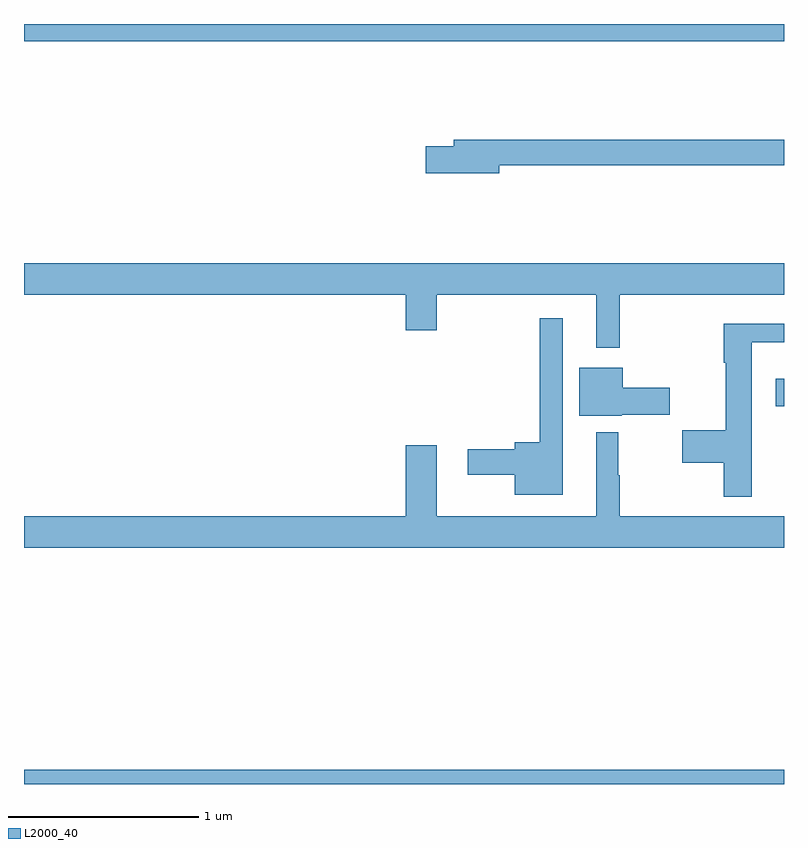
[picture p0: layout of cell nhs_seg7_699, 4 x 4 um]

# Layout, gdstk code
import gdstk
lib = gdstk.Library(unit=1e-6, precision=1e-09)
def R(c, l, rs):  # rectangles x0, y0, x1, y1
    for r in rs: c.add(gdstk.rectangle(r[:2], r[2:], *l))
def P(c, l, *ps):  # polygons
    for p in ps: c.add(gdstk.Polygon(p, *l))
L2000_40 = (2000, 40)

nhs_seg7_699 = lib.new_cell('nhs_seg7_699')
R(nhs_seg7_699, L2000_40, [(163,1038,167,1038.076), (166.956,1039.987,167,1040.134), (163,1041.908,167,1042)])
P(nhs_seg7_699, L2000_40, [(165.502,1041.256),(167,1041.256),(167,1041.392),(165.263,1041.392),(165.263,1041.356),(165.114,1041.356),(165.114,1041.214),(165.502,1041.214)],
  [(166.135,1040.576),(167,1040.576),(167,1040.74),(163,1040.74),(163,1040.576),(165.008,1040.576),(165.008,1040.388),(165.172,1040.388),(165.172,1040.576),(166.013,1040.576),(166.013,1040.295),(166.135,1040.295)],
  [(165.835,1040.452),(165.714,1040.452),(165.714,1039.799),(165.584,1039.799),(165.584,1039.763),(165.336,1039.763),(165.336,1039.628),(165.584,1039.628),(165.584,1039.523),(165.835,1039.523)],
  [(166.831,1040.324),(167,1040.324),(167,1040.422),(166.682,1040.422),(166.682,1040.218),(166.694,1040.218),(166.694,1039.862),(166.464,1039.862),(166.464,1039.691),(166.682,1039.691),(166.682,1039.512),(166.831,1039.512)],
  [(166.146,1039.943),(166.399,1039.943),(166.399,1040.085),(166.15,1040.085),(166.15,1040.191),(165.923,1040.191),(165.923,1039.937),(166.146,1039.937)],
  [(167,1039.408),(166.135,1039.408),(166.135,1039.625),(166.127,1039.625),(166.127,1039.852),(166.013,1039.852),(166.013,1039.408),(165.172,1039.408),(165.172,1039.783),(165.008,1039.783),(165.008,1039.408),(163,1039.408),(163,1039.244),(167,1039.244)])

lib.write_gds('nhs_seg7_699.gds')
